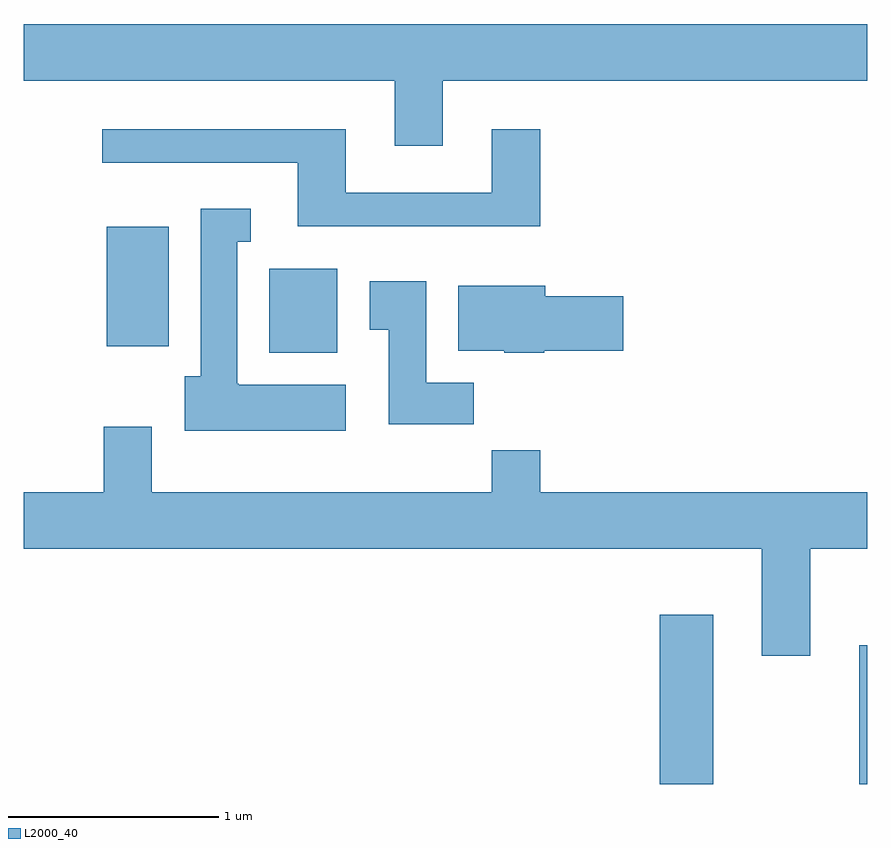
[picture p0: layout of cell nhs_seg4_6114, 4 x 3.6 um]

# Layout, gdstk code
import gdstk
lib = gdstk.Library(unit=1e-6, precision=1e-09)
def R(c, l, rs):  # rectangles x0, y0, x1, y1
    for r in rs: c.add(gdstk.rectangle(r[:2], r[2:], *l))
def P(c, l, *ps):  # polygons
    for p in ps: c.add(gdstk.Polygon(p, *l))
L2000_40 = (2000, 40)

nhs_seg4_6114 = lib.new_cell('nhs_seg4_6114')
R(nhs_seg4_6114, L2000_40, [(366.626,1377.982,366.879,1378.784), (367.571,1377.982,367.611,1378.639), (364.776,1380.026,365.099,1380.424), (364.006,1380.056,364.299,1380.624)])
P(nhs_seg4_6114, L2000_40, [(365.599,1381.316),(367.611,1381.316),(367.611,1381.584),(363.611,1381.584),(363.611,1381.316),(365.371,1381.316),(365.371,1381.006),(365.599,1381.006)],
  [(366.059,1381.084),(365.831,1381.084),(365.831,1380.784),(365.139,1380.784),(365.139,1381.084),(363.983,1381.084),(363.983,1380.926),(364.911,1380.926),(364.911,1380.626),(366.059,1380.626)],
  [(365.139,1379.874),(364.63,1379.874),(364.63,1379.88),(364.624,1379.88),(364.624,1380.551),(364.688,1380.551),(364.688,1380.709),(364.451,1380.709),(364.451,1379.914),(364.376,1379.914),(364.376,1379.656),(365.139,1379.656)],
  [(365.744,1379.884),(365.519,1379.884),(365.519,1380.364),(365.251,1380.364),(365.251,1380.136),(365.341,1380.136),(365.341,1379.686),(365.744,1379.686)],
  [(366.08,1380.036),(366.454,1380.036),(366.454,1380.294),(366.084,1380.294),(366.084,1380.344),(365.671,1380.344),(365.671,1380.036),(365.89,1380.036),(365.89,1380.026),(366.08,1380.026)],
  [(363.991,1379.674),(363.991,1379.364),(363.611,1379.364),(363.611,1379.096),(367.111,1379.096),(367.111,1378.591),(367.339,1378.591),(367.339,1379.096),(367.611,1379.096),(367.611,1379.364),(366.059,1379.364),(366.059,1379.564),(365.831,1379.564),(365.831,1379.364),(364.219,1379.364),(364.219,1379.674)])

lib.write_gds('nhs_seg4_6114.gds')
